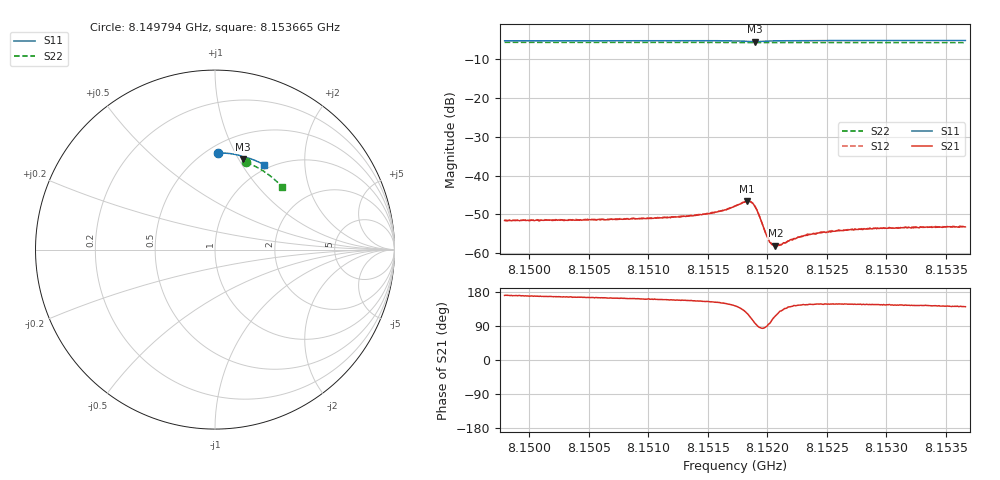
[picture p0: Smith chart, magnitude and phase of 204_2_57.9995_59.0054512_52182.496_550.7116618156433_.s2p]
#  HZ  S  RI  R  50.00
! Rohde & Schwarz Vector Network Analyzer
! Rohde-Schwarz,ZNB20-2Port,1311601062101988,3.16
! Created: UTC 3/21/2024, 12:59:22 AM
! freq[Hz]  re:S11  im:S11  re:S21  im:S21  re:S12  im:S12  re:S22  im:S22
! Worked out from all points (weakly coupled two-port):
!   401 points, 8.149794 GHz to 8.153665 GHz, reference 50 ohm
!   highest |S21| = -46.65 dB at 8.151826 GHz (marker M1); lowest = -58.0 dB at 8.152068 GHz (marker M2)
!   lowest |S11| = -5.6 dB at 8.151894 GHz (marker M3), VSWR 3.22, Z = 37.3 + j52 ohm
!   |S11| at or under -10 dB: nowhere
!   |S22| runs from -5.8 to -5.7 dB; largest |S21 - S12| = 0.00012
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8.149794e9  0.0164 0.5398  -0.00261 0.00044  -0.00262 0.000513  0.1732 0.4859
8.1504423e9  0.0618 0.5374  -0.00258 0.000641  -0.00261 0.000763  0.2119 0.4696
8.1510907e9  0.1071 0.5312  -0.00268 0.000987  -0.00268 0.00101  0.249 0.45
8.1512552e9  0.1188 0.5289  -0.00272 0.00111  -0.00276 0.00112  0.2581 0.4448
8.151468e9  0.1342 0.5251  -0.00288 0.00136  -0.00286 0.00142  0.2697 0.4375
8.1516132e9  0.1453 0.5215  -0.00305 0.00173  -0.00304 0.00178  0.2775 0.4323
8.1517293e9  0.1545 0.5164  -0.00323 0.00244  -0.00323 0.0025  0.2838 0.4281
8.1518261e9  0.1596 0.5076  -0.00264 0.00383  -0.00259 0.00388  0.2886 0.4241
8.1518648e9  0.1577 0.5039  -0.00159 0.00428  -0.00154 0.00432  0.2903 0.4226
8.1518938e9  0.1547 0.5034  -0.000589 0.00403  -0.000534 0.00408  0.2918 0.4217
8.1519228e9  0.1527 0.5057  8.66e-05 0.00331  0.000144 0.00338  0.2931 0.4209
8.1519906e9  0.1558 0.5119  6.5e-05 0.00176  8.06e-05 0.00176  0.2967 0.4184
8.1520099e9  0.1576 0.5129  -0.000125 0.00154  -5.86e-05 0.00152  0.2977 0.418
8.152039e9  0.1605 0.5138  -0.00034 0.00126  -0.000313 0.00128  0.2993 0.4169
8.152068e9  0.1633 0.5142  -0.000552 0.00112  -0.000536 0.00112  0.3008 0.4157
8.1521067e9  0.1668 0.5142  -0.000801 0.000995  -0.000784 0.00104  0.303 0.4142
8.1522615e9  0.1796 0.5121  -0.00131 0.000928  -0.0013 0.000987  0.3109 0.4081
8.1523776e9  0.1881 0.5096  -0.00148 0.000979  -0.00147 0.000969  0.3165 0.4034
8.1524454e9  0.193 0.508  -0.00156 0.000975  -0.00158 0.00102  0.3198 0.4007
8.1526195e9  0.2048 0.5039  -0.00166 0.00105  -0.00168 0.00107  0.3283 0.3934
8.153026e9  0.2315 0.4931  -0.00178 0.00117  -0.00175 0.00125  0.3476 0.376
8.1536646e9  0.2716 0.4734  -0.00169 0.00139  -0.00171 0.00142  0.3757 0.3466
